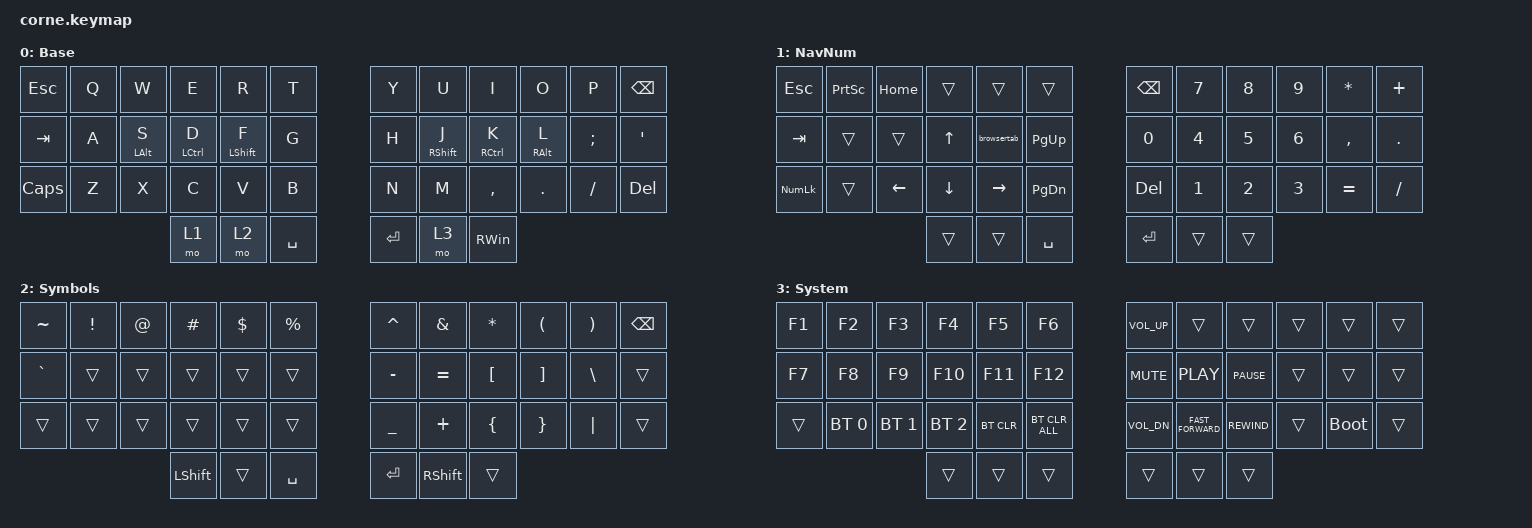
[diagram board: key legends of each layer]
#include <behaviors.dtsi>
#include <dt-bindings/zmk/bt.h>
#include <dt-bindings/zmk/keys.h>

#define DEF 0
#define NAV 1
#define SYM 2
#define ADJ 3
#define EXTRA 4

/ {
    behaviors {
        hml: hml {
            compatible = "zmk,behavior-hold-tap";
            label = "HML";
            #binding-cells = <2>;
            bindings = <&kp>, <&kp>;

            hold-trigger-key-positions = <16 15 14>;
            tapping-term-ms = <280>;
            quick-tap-ms = <175>;
            flavor = "tap-preferred";
            hold-trigger-on-release;
        };

        hmr: hmr {
            compatible = "zmk,behavior-hold-tap";
            label = "HMR";
            #binding-cells = <2>;
            bindings = <&kp>, <&kp>;

            tapping-term-ms = <280>;
            quick-tap-ms = <175>;
            flavor = "tap-preferred";
            hold-trigger-key-positions = <19 20 21>;
            hold-trigger-on-release;
        };
    };

    macros {
        browsertab: browsertab {
            compatible = "zmk,behavior-macro";
            #binding-cells = <0>;
            bindings =
                <&macro_press>,
                <&kp LCTRL>,
                <&macro_tap>,
                <&kp TAB>,
                <&macro_release>,
                <&kp LCTRL>;
        };
    };

    combos {
        compatible = "zmk,combos";

        escape {
            bindings = <&kp ESCAPE>;
            key-positions = <13 29>;
        };

        delete {
            bindings = <&kp DELETE>;
            key-positions = <15 21>;
        };

        perc {
            bindings = <&kp PERCENT>;
            key-positions = <5 17>;
        };

        equal {
            bindings = <&kp EQUAL>;
            key-positions = <28 16>;
        };

        dollar {
            bindings = <&kp DOLLAR>;
            key-positions = <4 16>;
        };

        pound {
            bindings = <&kp POUND>;
            key-positions = <3 15>;
        };

        at {
            bindings = <&kp AT>;
            key-positions = <2 14>;
        };

        backslash {
            bindings = <&kp BACKSLASH>;
            key-positions = <26 14>;
        };

        copy {
            bindings = <&kp K_COPY>;
            key-positions = <28 27>;
        };

        paste {
            bindings = <&kp K_PASTE>;
            key-positions = <26 27>;
        };

        star {
            bindings = <&kp STAR>;
            key-positions = <8 20>;
        };

        slash {
            bindings = <&kp SLASH>;
            key-positions = <32 20>;
        };

        plus {
            bindings = <&kp PLUS>;
            key-positions = <7 19>;
        };

        minus {
            bindings = <&kp KP_MINUS>;
            key-positions = <31 19>;
        };

        underscore {
            bindings = <&kp UNDER>;
            key-positions = <30 18>;
        };

        leftbrack {
            bindings = <&kp LEFT_BRACKET>;
            key-positions = <31 32>;
        };

        rightbrack {
            bindings = <&kp RIGHT_BRACKET>;
            key-positions = <33 32>;
        };

        para-less {
            bindings = <&none>;
            key-positions = <20 19>;
        };

        para-great {
            bindings = <&none>;
            key-positions = <20 21>;
        };
    };

    //

    keymap {
        compatible = "zmk,keymap";

        Main_Layer {
            display-name = "Base";

            // -----------------------------------------------------------------------------------------
            // |  Q  |  W  |  E  |  R  |  T  |   |  Y  |  U   |  I  |  O  |  P  |
            // |  A  |  S  |  D  |  F  |  G  |   |  H  |  J   |  K  |  L  |  ;  |
            // |  Z  |  X  |  C  |  V  |  B  |   |  N  |  M   |  ,  |  .  |  /  |
            // | GUI | CTRL | SHFT | LWR | SPC |   | ENT | RSE  | BKSP | ALT | ESC |

            bindings = <
&kp ESC       &kp Q  &kp W            &kp E                &kp R              &kp T        &kp Y    &kp U               &kp I                 &kp O             &kp P     &kp BACKSPACE
&kp TAB       &kp A  &hml LEFT_ALT S  &hml LEFT_CONTROL D  &hml LEFT_SHIFT F  &kp G        &kp H    &hmr RIGHT_SHIFT J  &hmr RIGHT_CONTROL K  &hmr RIGHT_ALT L  &kp SEMI  &kp SQT
&kp CAPSLOCK  &kp Z  &kp X            &kp C                &kp V              &kp B        &kp N    &kp M               &kp COMMA             &kp DOT           &kp FSLH  &kp DELETE
                                      &mo 1                &mo 2              &kp SPACE    &kp RET  &mo 3               &kp RIGHT_WIN
            >;
        };

        Layer1 {
            display-name = "NavNum";

            // -----------------------------------------------------------------------------------------
            // |  TAB |  1  |  2  |  3  |  4  |  5  |   |  6  |  7  |  8  |  9  |  0  | BKSP |
            // | BTCLR| BT1 | BT2 | BT3 | BT4 | BT5 |   | LFT | DWN |  UP | RGT |     |      |
            // | SHFT |     |     |     |     |     |   |     |     |     |     |     |      |
            // | GUI | CTRL | SHFT | LWR | SPC |   | ENT | RSE  | BKSP | ALT | ESC |

            bindings = <
&kp ESCAPE      &kp PRINTSCREEN  &kp HOME  &trans        &trans           &trans           &kp BACKSPACE  &kp N7  &kp N8  &kp N9  &kp ASTRK  &kp PLUS
&kp TAB         &trans           &trans    &kp UP_ARROW  &browsertab      &kp PAGE_UP      &kp N0         &kp N4  &kp N5  &kp N6  &kp COMMA  &kp PERIOD
&kp KP_NUMLOCK  &trans           &kp LEFT  &kp DOWN      &kp RIGHT_ARROW  &kp PAGE_DOWN    &kp DELETE     &kp N1  &kp N2  &kp N3  &kp EQUAL  &kp SLASH
                                           &trans        &trans           &kp SPACE        &kp RET        &trans  &trans
            >;
        };

        Layer2 {
            display-name = "Symbols";

            // -----------------------------------------------------------------------------------------
            // |  TAB |  !  |  @  |  #  |  $  |  %  |   |  ^  |  &  |  *  |  (  |  )  | BKSP |
            // | CTRL |     |     |     |     |     |   |  -  |  =  |  [  |  ]  |  \  |  `   |
            // | SHFT |     |     |     |     |     |   |  _  |  +  |  {  |  }  | "|" |  ~   |
            //                    | GUI |     | SPC |   | ENT |     | ALT |

            bindings = <
&kp TILDE  &kp EXCL  &kp AT  &kp HASH        &kp DLLR  &kp PRCNT    &kp CARET  &kp AMPS         &kp ASTRK  &kp LEFT_PARENTHESIS  &kp RPAR  &kp BACKSPACE
&kp GRAVE  &trans    &trans  &trans          &trans    &trans       &kp MINUS  &kp EQUAL        &kp LBKT   &kp RBKT              &kp BSLH  &trans
&trans     &trans    &trans  &trans          &trans    &trans       &kp UNDER  &kp PLUS         &kp LBRC   &kp RBRC              &kp PIPE  &trans
                             &kp LEFT_SHIFT  &trans    &kp SPACE    &kp RET    &kp RIGHT_SHIFT  &trans
            >;
        };

        Layer3 {
            display-name = "System";
            bindings = <
&kp F1  &kp F2        &kp F3        &kp F4        &kp F5      &kp F6            &kp C_VOLUME_UP  &trans              &trans        &trans  &trans       &trans
&kp F7  &kp F8        &kp F9        &kp F10       &kp F11     &kp F12           &kp K_MUTE       &kp C_PLAY          &kp C_PAUSE   &trans  &trans       &trans
&trans  &bt BT_SEL 0  &bt BT_SEL 1  &bt BT_SEL 2  &bt BT_CLR  &bt BT_CLR_ALL    &kp C_VOL_DN     &kp C_FAST_FORWARD  &kp C_REWIND  &trans  &bootloader  &trans
                                    &trans        &trans      &trans            &trans           &trans              &trans
            >;
        };
    };

    conditional_layers {
        compatible = "zmk,conditional-layers";

        l3 {
            if-layers = <1 2>;
            then-layer = <3>;
        };
    };
};
